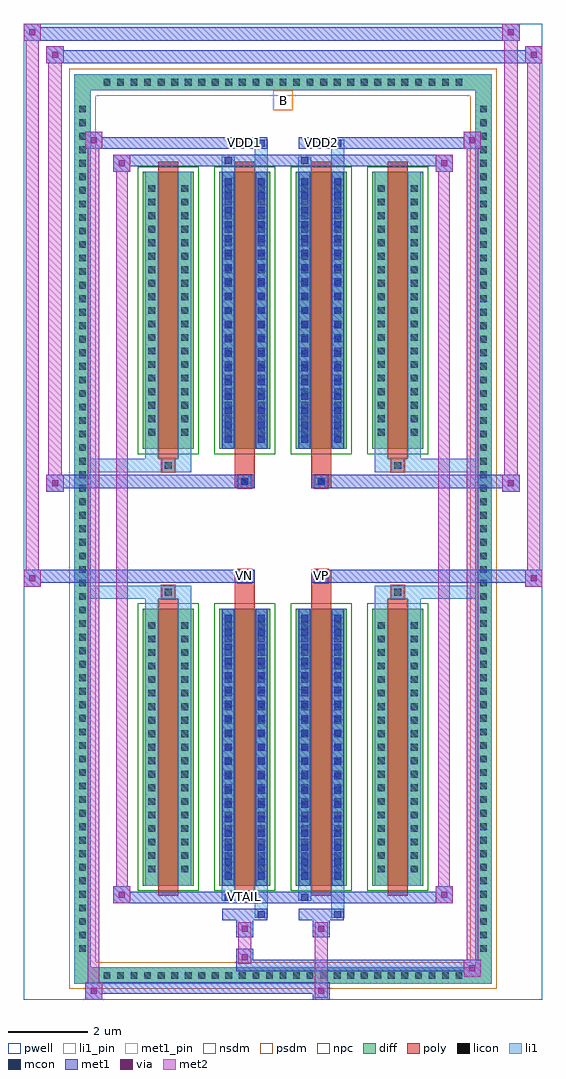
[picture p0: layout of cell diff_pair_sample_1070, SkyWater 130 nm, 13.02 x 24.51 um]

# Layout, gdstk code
import gdstk
lib = gdstk.Library(unit=1e-6, precision=5e-09)
def R(c, l, rs):  # rectangles x0, y0, x1, y1
    for r in rs: c.add(gdstk.rectangle(r[:2], r[2:], *l))
def A(c, l, x, y, w, h, nx, ny, dx, dy):  # array of equal rectangles
    R(c, l, [(x+i*dx, y+j*dy, x+i*dx+w, y+j*dy+h) for i in range(nx) for j in range(ny)])
def P(c, l, *ps):  # polygons
    for p in ps: c.add(gdstk.Polygon(p, *l))
pwell = (64, 44)
diff = (65, 20)
poly = (66, 20)
licon = (66, 44)
li1_pin = (67, 16)
li1 = (67, 20)
mcon = (67, 44)
met1_pin = (68, 16)
met1 = (68, 20)
via = (68, 44)
met2 = (69, 20)
nsdm = (93, 44)
psdm = (94, 20)
npc = (95, 20)

diff_pair_sample_1070 = lib.new_cell('diff_pair_sample_1070')
R(diff_pair_sample_1070, pwell, [(-6.51,-11.82,6.51,12.69), (-3.83,-10.01,-0.01,-0.825), (0.01,-10.01,3.83,-0.825), (-3.83,0.825,-0.01,10.01), (0.01,0.825,3.83,10.01)])
A(diff_pair_sample_1070, diff, -4.625, -11.42, 0.41, 0.41, 27, 2, 0.34, 22.43)
A(diff_pair_sample_1070, diff, -5.24, -10.745, 0.41, 0.41, 1, 63, 0, 0.34)
A(diff_pair_sample_1070, diff, 4.83, -10.745, 0.41, 0.41, 1, 63, 0, 0.34)
A(diff_pair_sample_1070, diff, -3.52, -8.965, 1.28, 6.96, 4, 2, 1.92, 10.97)
R(diff_pair_sample_1070, diff, [(-4.625,-11.42,4.625,-11.01), (-5.24,-10.745,-4.83,10.745), (4.83,-10.745,5.24,10.745), (-4.625,11.01,4.625,11.42)])
P(diff_pair_sample_1070, diff, [(5.24,11.42),(-5.24,11.42),(-5.24,-11.01),(-4.83,-11.01),(-4.83,11.01),(4.83,11.01),(4.83,-11.01),(-4.83,-11.01),(-5.24,-11.01),(-5.24,-11.42),(5.24,-11.42)])
A(diff_pair_sample_1070, poly, -3.13, -9.215, 0.5, 7.46, 4, 2, 1.92, 10.97)
R(diff_pair_sample_1070, poly, [(-3.045,-1.755,-2.715,-1.425), (-3.045,-1.755,-2.715,-1.425), (-1.21,-1.755,-0.71,-1.355), (0.71,-1.755,1.21,-1.355), (2.715,-1.755,3.045,-1.425), (2.715,-1.755,3.045,-1.425), (-1.21,-1.355,-0.71,-1.025), (-1.125,-1.355,-0.795,-1.025), (0.71,-1.355,1.21,-1.025), (0.795,-1.355,1.125,-1.025), (-1.21,1.025,-0.71,1.355), (-1.125,1.025,-0.795,1.355), (0.71,1.025,1.21,1.355), (0.795,1.025,1.125,1.355), (-1.21,1.355,-0.71,1.755), (0.71,1.355,1.21,1.755), (-3.045,1.425,-2.715,1.755), (-3.045,1.425,-2.715,1.755), (2.715,1.425,3.045,1.755), (2.715,1.425,3.045,1.755)])
A(diff_pair_sample_1070, licon, -4.505, -11.3, 0.17, 0.17, 27, 2, 0.34, 22.43)
A(diff_pair_sample_1070, licon, -5.12, -10.625, 0.17, 0.17, 1, 63, 0, 0.34)
A(diff_pair_sample_1070, licon, 4.95, -10.625, 0.17, 0.17, 1, 63, 0, 0.34)
A(diff_pair_sample_1070, licon, -3.38, -8.63, 0.17, 0.17, 1, 19, 0, 0.34)
A(diff_pair_sample_1070, licon, -2.55, -8.63, 0.17, 0.17, 1, 19, 0, 0.34)
A(diff_pair_sample_1070, licon, -1.46, -8.63, 0.17, 0.17, 1, 19, 0, 0.34)
A(diff_pair_sample_1070, licon, -0.63, -8.63, 0.17, 0.17, 1, 19, 0, 0.34)
A(diff_pair_sample_1070, licon, 0.46, -8.63, 0.17, 0.17, 1, 19, 0, 0.34)
A(diff_pair_sample_1070, licon, 1.29, -8.63, 0.17, 0.17, 1, 19, 0, 0.34)
A(diff_pair_sample_1070, licon, 2.38, -8.63, 0.17, 0.17, 1, 19, 0, 0.34)
A(diff_pair_sample_1070, licon, 3.21, -8.63, 0.17, 0.17, 1, 19, 0, 0.34)
A(diff_pair_sample_1070, licon, -3.38, 2.34, 0.17, 0.17, 1, 19, 0, 0.34)
A(diff_pair_sample_1070, licon, -2.55, 2.34, 0.17, 0.17, 1, 19, 0, 0.34)
A(diff_pair_sample_1070, licon, -1.46, 2.34, 0.17, 0.17, 1, 19, 0, 0.34)
A(diff_pair_sample_1070, licon, -0.63, 2.34, 0.17, 0.17, 1, 19, 0, 0.34)
A(diff_pair_sample_1070, licon, 0.46, 2.34, 0.17, 0.17, 1, 19, 0, 0.34)
A(diff_pair_sample_1070, licon, 1.29, 2.34, 0.17, 0.17, 1, 19, 0, 0.34)
A(diff_pair_sample_1070, licon, 2.38, 2.34, 0.17, 0.17, 1, 19, 0, 0.34)
A(diff_pair_sample_1070, licon, 3.21, 2.34, 0.17, 0.17, 1, 19, 0, 0.34)
R(diff_pair_sample_1070, licon, [(-2.965,-1.675,-2.795,-1.505), (2.795,-1.675,2.965,-1.505), (-1.045,-1.275,-0.875,-1.105), (0.875,-1.275,1.045,-1.105), (-1.045,1.105,-0.875,1.275), (0.875,1.105,1.045,1.275), (-2.965,1.505,-2.795,1.675), (2.795,1.505,2.965,1.675)])
R(diff_pair_sample_1070, li1_pin, [(-0.25,10.51,0.25,11.01)])
A(diff_pair_sample_1070, li1, -4.585, -11.38, 0.33, 0.33, 27, 2, 0.34, 22.43)
A(diff_pair_sample_1070, li1, -5.2, -10.705, 0.33, 0.33, 1, 63, 0, 0.34)
A(diff_pair_sample_1070, li1, 4.87, -10.705, 0.33, 0.33, 1, 63, 0, 0.34)
A(diff_pair_sample_1070, li1, -1.46, -8.81, 0.17, 0.17, 1, 19, 0, 0.36)
A(diff_pair_sample_1070, li1, -0.63, -8.81, 0.17, 0.17, 1, 19, 0, 0.36)
A(diff_pair_sample_1070, li1, 0.46, -8.81, 0.17, 0.17, 1, 19, 0, 0.36)
A(diff_pair_sample_1070, li1, 1.29, -8.81, 0.17, 0.17, 1, 19, 0, 0.36)
A(diff_pair_sample_1070, li1, -3.46, -8.71, 0.33, 0.33, 1, 19, 0, 0.34)
A(diff_pair_sample_1070, li1, -2.63, -8.71, 0.33, 0.33, 1, 19, 0, 0.34)
A(diff_pair_sample_1070, li1, -1.54, -8.71, 0.33, 0.33, 1, 19, 0, 0.34)
A(diff_pair_sample_1070, li1, -0.71, -8.71, 0.33, 0.33, 1, 19, 0, 0.34)
A(diff_pair_sample_1070, li1, 0.38, -8.71, 0.33, 0.33, 1, 19, 0, 0.34)
A(diff_pair_sample_1070, li1, 1.21, -8.71, 0.33, 0.33, 1, 19, 0, 0.34)
A(diff_pair_sample_1070, li1, 2.3, -8.71, 0.33, 0.33, 1, 19, 0, 0.34)
A(diff_pair_sample_1070, li1, 3.13, -8.71, 0.33, 0.33, 1, 19, 0, 0.34)
A(diff_pair_sample_1070, li1, -1.46, 2.16, 0.17, 0.17, 1, 19, 0, 0.36)
A(diff_pair_sample_1070, li1, -0.63, 2.16, 0.17, 0.17, 1, 19, 0, 0.36)
A(diff_pair_sample_1070, li1, 0.46, 2.16, 0.17, 0.17, 1, 19, 0, 0.36)
A(diff_pair_sample_1070, li1, 1.29, 2.16, 0.17, 0.17, 1, 19, 0, 0.36)
A(diff_pair_sample_1070, li1, -3.46, 2.26, 0.33, 0.33, 1, 19, 0, 0.34)
A(diff_pair_sample_1070, li1, -2.63, 2.26, 0.33, 0.33, 1, 19, 0, 0.34)
A(diff_pair_sample_1070, li1, -1.54, 2.26, 0.33, 0.33, 1, 19, 0, 0.34)
A(diff_pair_sample_1070, li1, -0.71, 2.26, 0.33, 0.33, 1, 19, 0, 0.34)
A(diff_pair_sample_1070, li1, 0.38, 2.26, 0.33, 0.33, 1, 19, 0, 0.34)
A(diff_pair_sample_1070, li1, 1.21, 2.26, 0.33, 0.33, 1, 19, 0, 0.34)
A(diff_pair_sample_1070, li1, 2.3, 2.26, 0.33, 0.33, 1, 19, 0, 0.34)
A(diff_pair_sample_1070, li1, 3.13, 2.26, 0.33, 0.33, 1, 19, 0, 0.34)
R(diff_pair_sample_1070, li1, [(-5.24,-11.42,-4.83,-11.01), (-5.24,-11.42,-4.83,-11.01), (-4.83,-11.42,4.83,-11.01), (4.83,-11.42,5.24,-11.01), (4.83,-11.42,5.24,-11.01), (-5.24,-11.01,-4.83,11.01), (4.83,-11.01,5.24,11.01), (-0.71,-9.77,-0.38,-8.965), (-0.63,-9.77,-0.46,-9.6), (1.21,-9.77,1.54,-8.965), (1.29,-9.77,1.46,-9.6), (-1.54,-9.34,-1.21,-8.965), (-1.46,-9.34,-1.29,-9.17), (0.38,-9.34,0.71,-8.965), (0.46,-9.34,0.63,-9.17), (-3.46,-8.965,-3.13,-2.005), (-2.63,-8.965,-2.3,-2.005), (-1.54,-8.965,-1.21,-2.005), (-0.71,-8.965,-0.38,-2.005), (0.38,-8.965,0.71,-2.005), (1.21,-8.965,1.54,-2.005), (2.3,-8.965,2.63,-2.005), (3.13,-8.965,3.46,-2.005), (-1.46,-8.81,-1.29,-2.16), (-0.63,-8.81,-0.46,-2.16), (0.46,-8.81,0.63,-2.16), (1.29,-8.81,1.46,-2.16), (-3.46,-2.005,-3.13,-1.425), (-2.63,-2.005,-2.3,-1.425), (2.3,-2.005,2.63,-1.425), (3.13,-2.005,3.46,-1.425), (-5.24,-1.755,-3.045,-1.425), (-3.46,-1.755,-3.045,-1.425), (-3.045,-1.755,-2.715,-1.425), (-2.715,-1.755,-2.3,-1.425), (2.3,-1.755,2.715,-1.425), (2.715,-1.755,3.045,-1.425), (2.715,-1.755,5.24,-1.425), (3.045,-1.755,3.46,-1.425), (-1.125,-1.355,-0.795,-1.025), (0.795,-1.355,1.125,-1.025), (-1.125,1.025,-0.795,1.355), (0.795,1.025,1.125,1.355), (-5.24,1.425,-3.045,1.755), (-3.46,1.425,-3.045,1.755), (-3.46,1.425,-3.13,2.005), (-3.045,1.425,-2.715,1.755), (-2.715,1.425,-2.3,1.755), (-2.63,1.425,-2.3,2.005), (2.3,1.425,2.715,1.755), (2.3,1.425,2.63,2.005), (2.715,1.425,3.045,1.755), (2.715,1.425,5.24,1.755), (3.045,1.425,3.46,1.755), (3.13,1.425,3.46,2.005), (-3.46,2.005,-3.13,8.965), (-2.63,2.005,-2.3,8.965), (-1.54,2.005,-1.21,8.965), (-0.71,2.005,-0.38,8.965), (0.38,2.005,0.71,8.965), (1.21,2.005,1.54,8.965), (2.3,2.005,2.63,8.965), (3.13,2.005,3.46,8.965), (-1.46,2.16,-1.29,8.81), (-0.63,2.16,-0.46,8.81), (0.46,2.16,0.63,8.81), (1.29,2.16,1.46,8.81), (-1.54,8.965,-1.21,9.34), (-0.71,8.965,-0.38,9.77), (0.38,8.965,0.71,9.34), (1.21,8.965,1.54,9.77), (-1.46,9.17,-1.29,9.34), (0.46,9.17,0.63,9.34), (-0.63,9.6,-0.46,9.77), (1.29,9.6,1.46,9.77), (-5.24,11.01,-4.83,11.42), (-5.24,11.01,-4.83,11.42), (-4.83,11.01,4.83,11.42), (4.83,11.01,5.24,11.42), (4.83,11.01,5.24,11.42)])
A(diff_pair_sample_1070, mcon, -1.46, -8.81, 0.17, 0.17, 1, 19, 0, 0.36)
A(diff_pair_sample_1070, mcon, -0.63, -8.81, 0.17, 0.17, 1, 19, 0, 0.36)
A(diff_pair_sample_1070, mcon, 0.46, -8.81, 0.17, 0.17, 1, 19, 0, 0.36)
A(diff_pair_sample_1070, mcon, 1.29, -8.81, 0.17, 0.17, 1, 19, 0, 0.36)
A(diff_pair_sample_1070, mcon, -1.46, 2.16, 0.17, 0.17, 1, 19, 0, 0.36)
A(diff_pair_sample_1070, mcon, -0.63, 2.16, 0.17, 0.17, 1, 19, 0, 0.36)
A(diff_pair_sample_1070, mcon, 0.46, 2.16, 0.17, 0.17, 1, 19, 0, 0.36)
A(diff_pair_sample_1070, mcon, 1.29, 2.16, 0.17, 0.17, 1, 19, 0, 0.36)
R(diff_pair_sample_1070, mcon, [(-0.63,-9.77,-0.46,-9.6), (1.29,-9.77,1.46,-9.6), (-1.46,-9.34,-1.29,-9.17), (0.46,-9.34,0.63,-9.17), (-1.045,-1.275,-0.875,-1.105), (0.875,-1.275,1.045,-1.105), (-1.045,1.105,-0.875,1.275), (0.875,1.105,1.045,1.275), (-1.46,9.17,-1.29,9.34), (0.46,9.17,0.63,9.34), (-0.63,9.6,-0.46,9.77), (1.29,9.6,1.46,9.77)])
R(diff_pair_sample_1070, met1_pin, [(-1.095,-9.38,-0.825,-9.11), (-1.095,-1.295,-0.825,-1.025), (0.825,-1.295,1.095,-1.025), (-1.095,9.56,-0.825,9.83), (0.825,9.56,1.095,9.83)])
A(diff_pair_sample_1070, met1, -1.52, -8.87, 0.29, 0.29, 1, 19, 0, 0.36)
A(diff_pair_sample_1070, met1, -0.69, -8.87, 0.29, 0.29, 1, 19, 0, 0.36)
A(diff_pair_sample_1070, met1, 0.4, -8.87, 0.29, 0.29, 1, 19, 0, 0.36)
A(diff_pair_sample_1070, met1, 1.23, -8.87, 0.29, 0.29, 1, 19, 0, 0.36)
A(diff_pair_sample_1070, met1, -1.52, 2.1, 0.29, 0.29, 1, 19, 0, 0.36)
A(diff_pair_sample_1070, met1, -0.69, 2.1, 0.29, 0.29, 1, 19, 0, 0.36)
A(diff_pair_sample_1070, met1, 0.4, 2.1, 0.29, 0.29, 1, 19, 0, 0.36)
A(diff_pair_sample_1070, met1, 1.23, 2.1, 0.29, 0.29, 1, 19, 0, 0.36)
R(diff_pair_sample_1070, met1, [(-4.97,-11.82,-4.54,-11.39), (0.745,-11.82,1.175,-11.39), (-4.97,-11.68,1.175,-11.39), (4.54,-11.25,4.97,-10.82), (-1.175,-11.11,4.97,-10.82), (-1.175,-10.97,-0.745,-10.54), (-1.175,-10.26,-0.745,-9.83), (0.745,-10.26,1.175,-9.83), (-1.52,-9.83,-0.4,-9.54), (-0.69,-9.83,-0.4,-9.54), (0.4,-9.83,1.52,-9.54), (1.23,-9.83,1.52,-9.54), (-4.26,-9.4,-3.83,-8.97), (-4.26,-9.4,-1.52,-9.11), (-1.52,-9.4,-1.23,-9.11), (-1.52,-9.4,-0.4,-9.11), (-0.4,-9.4,0.4,-9.11), (0.4,-9.4,0.69,-9.11), (0.4,-9.4,1.52,-9.11), (1.52,-9.4,4.26,-9.11), (3.83,-9.4,4.26,-8.97), (-1.52,-8.965,-1.23,-2.005), (-0.69,-8.965,-0.4,-2.005), (0.4,-8.965,0.69,-2.005), (1.23,-8.965,1.52,-2.005), (-6.51,-1.455,-6.08,-1.025), (6.08,-1.455,6.51,-1.025), (-6.51,-1.355,-0.71,-1.025), (-1.21,-1.355,-0.71,-1.025), (0.71,-1.355,1.21,-1.025), (0.71,-1.355,6.51,-1.025), (-1.105,-1.335,-0.815,-1.045), (0.815,-1.335,1.105,-1.045), (-5.94,0.925,-5.51,1.355), (5.51,0.925,5.94,1.355), (-5.94,1.025,-1.21,1.355), (-1.21,1.025,-0.71,1.355), (0.71,1.025,1.21,1.355), (1.21,1.025,5.94,1.355), (-1.105,1.045,-0.815,1.335), (0.815,1.045,1.105,1.335), (-1.52,2.005,-1.23,8.965), (-0.69,2.005,-0.4,8.965), (0.4,2.005,0.69,8.965), (1.23,2.005,1.52,8.965), (-4.26,8.97,-3.83,9.4), (3.83,8.97,4.26,9.4), (-4.26,9.11,-1.52,9.4), (-1.52,9.11,-1.23,9.4), (-1.52,9.11,-0.4,9.4), (-0.4,9.11,0.4,9.4), (0.4,9.11,0.69,9.4), (0.4,9.11,1.52,9.4), (1.52,9.11,4.26,9.4), (-4.97,9.54,-4.54,9.97), (-4.97,9.54,-1.52,9.83), (-1.52,9.54,-0.4,9.83), (-0.69,9.54,-0.4,9.83), (0.4,9.54,1.52,9.83), (1.23,9.54,1.52,9.83), (1.52,9.54,4.97,9.83), (4.54,9.54,4.97,9.97), (-5.94,11.69,-5.51,12.12), (-5.94,11.69,-3.83,12.02), (-3.83,11.69,3.83,12.02), (3.83,11.69,6.51,12.02), (6.08,11.69,6.51,12.12), (-6.51,12.26,-6.08,12.69), (-6.51,12.26,-3.83,12.59), (-3.83,12.26,3.83,12.59), (3.83,12.26,5.94,12.59), (5.51,12.26,5.94,12.69)])
R(diff_pair_sample_1070, via, [(-4.83,-11.68,-4.68,-11.53), (0.885,-11.68,1.035,-11.53), (4.68,-11.11,4.83,-10.96), (-1.035,-10.83,-0.885,-10.68), (-1.035,-10.12,-0.885,-9.97), (0.885,-10.12,1.035,-9.97), (-4.12,-9.26,-3.97,-9.11), (3.97,-9.26,4.12,-9.11), (-6.37,-1.315,-6.22,-1.165), (6.22,-1.315,6.37,-1.165), (-5.8,1.065,-5.65,1.215), (5.65,1.065,5.8,1.215), (-4.12,9.11,-3.97,9.26), (3.97,9.11,4.12,9.26), (-4.83,9.68,-4.68,9.83), (4.68,9.68,4.83,9.83), (-5.8,11.83,-5.65,11.98), (6.22,11.83,6.37,11.98), (-6.37,12.4,-6.22,12.55), (5.65,12.4,5.8,12.55)])
R(diff_pair_sample_1070, met2, [(-4.97,-11.82,-4.54,-11.39), (-4.9,-11.82,-4.61,9.97), (-4.61,-11.82,-4.54,-11.39), (-4.92,-11.77,-4.59,-11.44), (0.795,-11.77,1.125,-11.44), (0.795,-11.44,1.125,-10.21), (4.54,-11.25,4.97,-10.82), (4.61,-11.25,4.9,9.97), (4.9,-11.25,4.97,-10.82), (4.59,-11.2,4.92,-10.87), (-1.125,-10.92,-0.795,-10.59), (-1.125,-10.59,-0.795,-10.21), (-1.125,-10.21,-0.795,-9.88), (0.795,-10.21,1.125,-9.88), (-4.26,-9.4,-3.83,-8.97), (-4.19,-9.4,-3.9,9.4), (-3.9,-9.4,-3.83,-8.97), (3.83,-9.4,4.26,-8.97), (3.9,-9.4,4.19,9.4), (4.19,-9.4,4.26,-8.97), (-4.21,-9.35,-3.88,-9.02), (3.88,-9.35,4.21,-9.02), (-6.51,-1.455,-6.08,-1.025), (-6.46,-1.455,-6.13,12.69), (-6.13,-1.455,-6.08,-1.025), (6.08,-1.455,6.51,-1.025), (6.13,-1.455,6.46,12.12), (6.46,-1.455,6.51,-1.025), (-6.46,-1.405,-6.13,-1.075), (6.13,-1.405,6.46,-1.075), (-5.94,0.925,-5.51,1.355), (-5.89,0.925,-5.56,12.12), (-5.56,0.925,-5.51,1.355), (5.51,0.925,5.94,1.355), (5.56,0.925,5.89,12.69), (5.89,0.925,5.94,1.355), (-5.89,0.975,-5.56,1.305), (5.56,0.975,5.89,1.305), (-4.26,8.97,-3.83,9.4), (-3.9,8.97,-3.83,9.4), (3.83,8.97,4.26,9.4), (4.19,8.97,4.26,9.4), (-4.21,9.02,-3.88,9.35), (3.88,9.02,4.21,9.35), (-4.97,9.54,-4.54,9.97), (-4.61,9.54,-4.54,9.97), (4.54,9.54,4.97,9.97), (4.9,9.54,4.97,9.97), (-4.92,9.59,-4.59,9.92), (4.59,9.59,4.92,9.92), (-5.94,11.69,-5.51,12.12), (-5.56,11.69,-5.51,12.12), (6.08,11.69,6.51,12.12), (6.46,11.69,6.51,12.12), (-5.89,11.74,-5.56,12.07), (6.13,11.74,6.46,12.07), (-6.51,12.26,-6.08,12.69), (-6.13,12.26,-6.08,12.69), (5.51,12.26,5.94,12.69), (5.89,12.26,5.94,12.69), (-6.46,12.31,-6.13,12.64), (5.56,12.31,5.89,12.64)])
A(diff_pair_sample_1070, nsdm, -3.65, -9.095, 1.54, 7.22, 4, 2, 1.92, 10.97)
P(diff_pair_sample_1070, psdm, [(5.37,11.55),(-5.37,11.55),(-5.37,-10.88),(-4.7,-10.88),(-4.7,10.88),(4.7,10.88),(4.7,-10.88),(-4.7,-10.88),(-5.37,-10.88),(-5.37,-11.55),(5.37,-11.55)])
R(diff_pair_sample_1070, npc, [(-3.065,-1.775,-2.695,-1.405), (2.695,-1.775,3.065,-1.405), (-1.145,-1.375,-0.775,-1.005), (0.775,-1.375,1.145,-1.005), (-1.145,1.005,-0.775,1.375), (0.775,1.005,1.145,1.375), (-3.065,1.405,-2.695,1.775), (2.695,1.405,3.065,1.775)])
diff_pair_sample_1070.add(gdstk.Label('VTAIL', (-0.96,-9.245), layer=68, texttype=5))
diff_pair_sample_1070.add(gdstk.Label('VN', (-0.96,-1.16), layer=68, texttype=5))
diff_pair_sample_1070.add(gdstk.Label('VP', (0.96,-1.16), layer=68, texttype=5))
diff_pair_sample_1070.add(gdstk.Label('B', (0,10.76), layer=67, texttype=5))
diff_pair_sample_1070.add(gdstk.Label('VDD2', (0.96,9.695), layer=68, texttype=5))
diff_pair_sample_1070.add(gdstk.Label('VDD1', (-0.96,9.695), layer=68, texttype=5))

lib.write_gds('diff_pair_sample_1070.gds')
